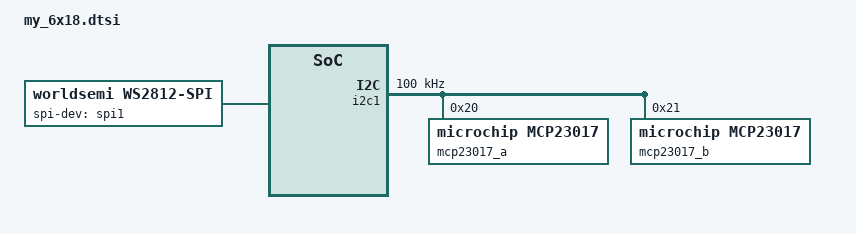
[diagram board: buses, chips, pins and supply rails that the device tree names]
/ {
    chosen {
        zmk,kscan = &kscan0;
    };

    // ===== WS2812 Strip =====
    led_strip: ws2812 {
        compatible = "worldsemi,ws2812-spi";
        label = "WS2812";
        reg = <0>;
        spi-max-frequency = <4000000>;
        chain-length = <108>;  /* 6x18 = 108 LEDs */
        spi-dev = <&spi1>;
        color-mapping = <LED_COLOR_MAPPING_RGB>;
        status = "okay";
    };
};

/* ===== I2C Expander MCP23017 ===== */
&i2c1 {
    status = "okay";
    clock-frequency = <100000>;

    mcp23017_a: mcp23017@20 {
        compatible = "microchip,mcp23017";
        reg = <0x20>;
        status = "okay";
    };

    mcp23017_b: mcp23017@21 {
        compatible = "microchip,mcp23017";
        reg = <0x21>;
        status = "okay";
    };
};

/* ===== Keyscan Matrix 6x18 ===== */
&kscan0 {
    compatible = "zmk,kscan-gpio-matrix";
    diode-direction = "col2row";

    row-gpios = <&mcp23017_a 0 GPIO_ACTIVE_HIGH>,
                <&mcp23017_a 1 GPIO_ACTIVE_HIGH>,
                <&mcp23017_a 2 GPIO_ACTIVE_HIGH>,
                <&mcp23017_a 3 GPIO_ACTIVE_HIGH>,
                <&mcp23017_a 4 GPIO_ACTIVE_HIGH>,
                <&mcp23017_a 5 GPIO_ACTIVE_HIGH>;

    col-gpios = <&mcp23017_b 0 GPIO_ACTIVE_HIGH>,
                <&mcp23017_b 1 GPIO_ACTIVE_HIGH>,
                <&mcp23017_b 2 GPIO_ACTIVE_HIGH>,
                <&mcp23017_b 3 GPIO_ACTIVE_HIGH>,
                <&mcp23017_b 4 GPIO_ACTIVE_HIGH>,
                <&mcp23017_b 5 GPIO_ACTIVE_HIGH>,
                <&mcp23017_b 6 GPIO_ACTIVE_HIGH>,
                <&mcp23017_b 7 GPIO_ACTIVE_HIGH>,
                <&mcp23017_b 8 GPIO_ACTIVE_HIGH>,
                <&mcp23017_b 9 GPIO_ACTIVE_HIGH>,
                <&mcp23017_b 10 GPIO_ACTIVE_HIGH>,
                <&mcp23017_b 11 GPIO_ACTIVE_HIGH>,
                <&mcp23017_b 12 GPIO_ACTIVE_HIGH>,
                <&mcp23017_b 13 GPIO_ACTIVE_HIGH>,
                <&mcp23017_b 14 GPIO_ACTIVE_HIGH>,
                <&mcp23017_b 15 GPIO_ACTIVE_HIGH>,
                <&mcp23017_a 6 GPIO_ACTIVE_HIGH>,
                <&mcp23017_a 7 GPIO_ACTIVE_HIGH>;
};
